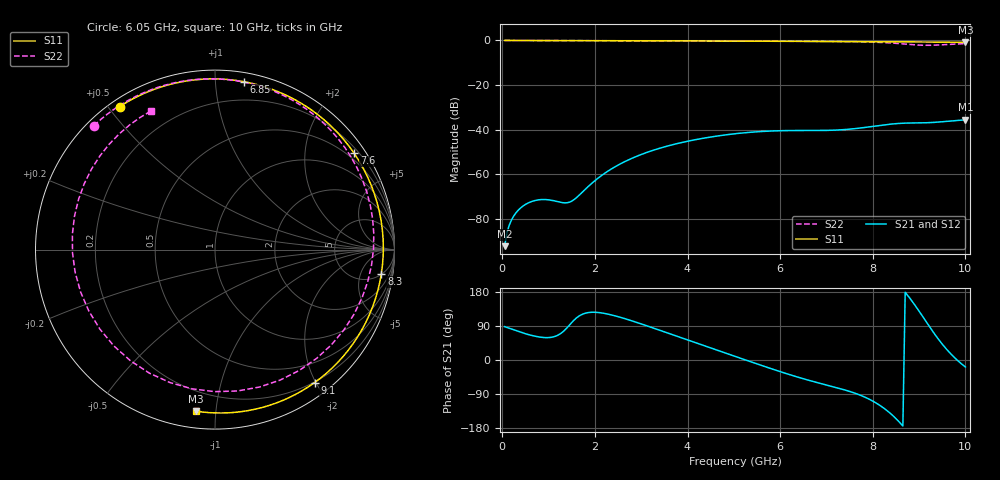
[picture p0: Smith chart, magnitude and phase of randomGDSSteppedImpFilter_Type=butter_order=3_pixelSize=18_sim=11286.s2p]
! freq	dB(S11)	phase(S11)	dB(S12)	phase(S12)
!  dB(S21)	phase(S21)	dB(S22)	phase(S22)
!S-par simulation data
#  GHz  S  DB  R 50
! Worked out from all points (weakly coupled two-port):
!   200 points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, 50 MHz to 10 GHz, reference 50 ohm
!   highest |S21| = -35.64 dB at 10 GHz (marker M1); lowest = -92.4 dB at 50 MHz (marker M2)
!   lowest |S11| = -0.9 dB at 10 GHz (marker M3), VSWR 20.37, Z = 4.39 - j44.3 ohm
!   |S11| at or under -10 dB: nowhere
!   |S22| runs from -2.2 to 0.0 dB; largest |S21 - S12| = 0
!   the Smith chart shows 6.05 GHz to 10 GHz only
!   S11 on the Smith chart (normalised r, x): 6.05 GHz: 0.03, +0.53; 6.85 GHz: 0.06, +1.19; 7.6 GHz: 0.33, +3.17; 8.3 GHz: 5, -11; 9.1 GHz: 0.19, -1.98; 10 GHz: 0.09, -0.89
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0.05  -0.00 -2.0  -92.38 88.0  -92.38 88.0  -0.00 -2.4
0.2  -0.01 -7.9  -80.57 81.6  -80.57 81.6  -0.01 -9.5
0.65  -0.03 -25.6  -72.22 64.3  -72.22 64.3  -0.03 -30.4
1.4  -0.07 -54.5  -72.88 85.3  -72.88 85.3  -0.08 -63.5
1.75  -0.09 -67.7  -67.68 121.8  -67.68 121.8  -0.09 -78.0
2.45  -0.12 -93.4  -56.55 116.1  -56.55 116.1  -0.12 -105.0
3.4  -0.17 -127.6  -48.40 78.5  -48.40 78.5  -0.15 -138.2
4.3  -0.22 -160.8  -44.06 40.3  -44.06 40.3  -0.19 -167.4
5.05  -0.28 169.4  -41.84 8.6  -41.84 8.6  -0.23 168.6
6.05  -0.38 123.7  -40.51 -32.6  -40.51 -32.6  -0.30 134.4
6.7  -0.44 88.8  -40.44 -56.3  -40.44 -56.3  -0.37 108.9
6.85  -0.45 80.2  -40.43 -61.2  -40.43 -61.2  -0.39 102.3
7.6  -0.51 34.7  -39.63 -86.9  -39.63 -86.9  -0.56 63.0
7.95  -0.54 13.0  -38.73 -105.1  -38.73 -105.1  -0.72 38.2
8.3  -0.57 -8.2  -37.78 -132.8  -37.78 -132.8  -1.02 5.7
8.35  -0.58 -11.2  -37.66 -137.8  -37.66 -137.8  -1.08 0.2
8.6  -0.60 -25.8  -37.22 -167.3  -37.22 -167.3  -1.45 -31.9
8.8  -0.63 -37.0  -37.07 163.2  -37.07 163.2  -1.80 -63.4
9.1  -0.67 -53.2  -36.99 110.7  -36.99 110.7  -2.16 -117.9
9.3  -0.70 -63.5  -36.82 74.6  -36.82 74.6  -2.14 -154.1
9.5  -0.74 -73.4  -36.51 41.9  -36.51 41.9  -1.95 173.8
10  -0.85 -96.6  -35.64 -18.5  -35.64 -18.5  -1.41 114.6
